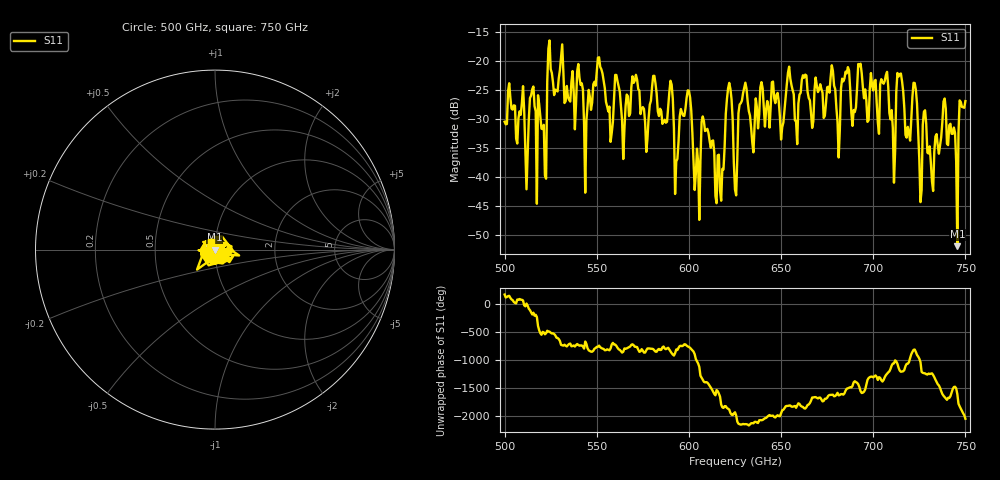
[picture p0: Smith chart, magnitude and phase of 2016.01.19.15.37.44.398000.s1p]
!Created with skrf (http://scikit-rf.org).
# GHz S RI R 50.0
!freq ReS11 ImS11
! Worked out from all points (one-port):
!   401 points, 500 GHz to 750 GHz, reference 50 ohm
!   lowest |S11| = -52.0 dB at 745.6 GHz (marker M1), VSWR 1.01, Z = 49.8 - j0.0683 ohm
!   |S11| at or under -10 dB: start of sweep to end of sweep
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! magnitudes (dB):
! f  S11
! 500 GHz  -30.5
! 511.9 GHz  -42.2
! 515 GHz  -24.9
! 521.2 GHz  -31.0
! 524.4 GHz  -16.5
! 531.2 GHz  -17.2
! 543.8 GHz  -42.7
! 551.2 GHz  -19.4
! 562.5 GHz  -25.3
! 590 GHz  -23.4
! 593.8 GHz  -36.9
! 600 GHz  -25.2
! 604.4 GHz  -35.1
! 608.1 GHz  -30.4
! 616.2 GHz  -36.2
! 621.9 GHz  -23.8
! 625 GHz  -42.2
! 630 GHz  -24.7
! 656.2 GHz  -25.0
! 687.5 GHz  -24.9
! 706.9 GHz  -22.5
! 710.6 GHz  -31.6
! 714.4 GHz  -22.3
! 718.8 GHz  -31.4
! 722.5 GHz  -23.8
! 725.6 GHz  -44.4
! 745.6 GHz  -52.0
! 750 GHz  -27.0
